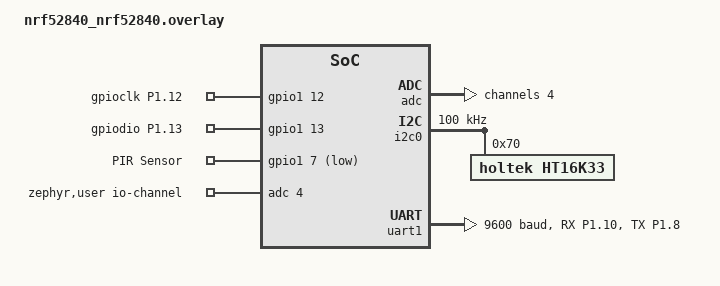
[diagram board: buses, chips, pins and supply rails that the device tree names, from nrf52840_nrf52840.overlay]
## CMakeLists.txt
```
# SPDX-License-Identifier: Apache-2.0

cmake_minimum_required(VERSION 3.20.0)
find_package(Zephyr REQUIRED HINTS $ENV{ZEPHYR_BASE})
project(Main)

FILE(GLOB app_sources src/*.c)
target_sources(app PRIVATE ${app_sources})

# cmake_minimum_required(VERSION 3.20.0)

# # Zephyr 프로젝트 설정
# find_package(Zephyr REQUIRED HINTS $ENV{ZEPHYR_BASE})
# project(Main)

# # 어셈블리어 파일 설정
# FILE(GLOB asm_sources src/*.s)

# # C 소스 파일 설정
# FILE(GLOB app_sources src/*.c)

# # 타겟 소스 설정 (C와 어셈블리어 파일 포함)
# target_sources(app PRIVATE ${app_sources} ${asm_sources})
```

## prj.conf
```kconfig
CONFIG_GPIO=y
CONFIG_ADC=y
CONFIG_ADC_ASYNC=y
CONFIG_ADC_NRFX_SAADC=y

CONFIG_LOG=y
CONFIG_I2C=y
CONFIG_LED=y
CONFIG_KSCAN=y
CONFIG_KSCAN_INIT_PRIORITY=95
CONFIG_HT16K33_KEYSCAN=y

CONFIG_PRINTK=y

CONFIG_UART_INTERRUPT_DRIVEN=y
CONFIG_UART_ASYNC_API=y
```

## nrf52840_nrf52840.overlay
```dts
/ {
	aliases {
		pir = &pir0;
		gpio-clk = &gpioclk;
		gpio-dio = &gpiodio;
		myserial = &uart1;
	};

	gpiocustom {
		status = "okay";
		compatible = "gpio-keys";

		gpioclk: gpioclk {
			gpios = <&gpio1 12 GPIO_ACTIVE_HIGH>;
			label = "gpioclk P1.12";
		};

		gpiodio: gpiodio {
			gpios = <&gpio1 13 GPIO_ACTIVE_HIGH>;
			label = "gpiodio P1.13";
		}; 
	};

	pir {
		compatible = "gpio-keys";
		pir0: pir0 {
		gpios = <&gpio1 7 (GPIO_ACTIVE_LOW | GPIO_PULL_UP)>;
		label = "PIR Sensor";
		};
	};

	zephyr,user {
		io-channels = <&adc 4>;
	};
};

&adc {
	#address-cells = <1>;
	#size-cells = <0>;

	channel@4 {
		reg = <4>;
		zephyr,gain = "ADC_GAIN_1";
		zephyr,reference = "ADC_REF_INTERNAL";
		zephyr,acquisition-time = <ADC_ACQ_TIME_DEFAULT>;
		zephyr,input-positive = <NRF_SAADC_AIN4>; /* P0.28 */
		zephyr,resolution = <10>;
	};
};

&i2c0 {
	clock-frequency = <I2C_BITRATE_STANDARD>;

	ht16k33@70 {
		compatible = "holtek,ht16k33";
		reg = <0x70>;
        /* Uncomment to use IRQ instead of polling: */
		/* irq-gpios = <&gpio1 8 (GPIO_PULL_UP | GPIO_ACTIVE_LOW)>; */

		keyscan {
			compatible = "holtek,ht16k33-keyscan";
		};
	};
};

arduino_serial: &uart1 {
    status = "okay";
    compatible = "nordic,nrf-uart";
	current-speed = <9600>;
	pinctrl-0 = <&uart1_default>;
	pinctrl-1 = <&uart1_sleep>;
	pinctrl-names = "default", "sleep";
};

&pinctrl {
	uart1_default: uart1_default {
		group1 {
			psels = <NRF_PSEL(UART_RX, 1, 10)>;
			bias-pull-up;
		};
		group2 {
 			// psels = <NRF_PSEL(UART_TX, 1, 11)>;
            psels = <NRF_PSEL(UART_TX, 1, 8)>;
		};
	};

	uart1_sleep: uart1_sleep {
		group1 {
			psels = <NRF_PSEL(UART_RX, 1, 10)>, 
					<NRF_PSEL(UART_TX, 1, 8)>;
			// psels = <NRF_PSEL(UART_RX, 0, 7)>, <NRF_PSEL(UART_TX,0, 6)>;
			low-power-enable;
		};
	};
};
```

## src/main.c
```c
/*
 * Copyright (c) 2016 Intel Corporation
 *
 * SPDX-License-Identifier: Apache-2.0
 */

#include <zephyr/kernel.h>
#include <zephyr/drivers/gpio.h>
#include <zephyr/device.h>
#include <zephyr/devicetree.h>
#include <zephyr/drivers/adc.h>
#include <zephyr/kernel.h>
#include <zephyr/sys/printk.h>
#include <zephyr/sys/util.h>
#include <zephyr/logging/log.h>

#include "batterydisplay.h"
#include "pir.h"
#include "value.h"
#include "led.h"
#include "co2.h"
#include "button.h"

//******* Button *******
extern int btn_flag;
//***************

/* ****** PIR Setting ****** */
//PIR Define
/* 1000 msec = 1 sec */
#define SLEEP_TIME_MS   1000
#define PIR_NODE DT_ALIAS(pir)
LOG_MODULE_REGISTER(pir);
#if DT_NODE_HAS_STATUS(PIR_NODE, okay)
static const struct gpio_dt_spec pir = GPIO_DT_SPEC_GET(PIR_NODE, gpios);
static struct gpio_callback pir_cb_data;
volatile bool motion_detected = false;
int val;
void pir_detected(const struct device *dev, struct gpio_callback *cb, uint32_t pins)
{
    motion_detected = true;
    LOG_INF("Motion detected!");
}
#else
#error "PIR sensor is not defined in the device tree"
#endif
/* ************************* */

/* ****** Sound Sensor Setting ****** */
// Sound Sensor Define
K_THREAD_STACK_DEFINE(sound_thread_stack, 1024);
k_tid_t sound_thread_id;

#define MAX_SENSORVALUE 1023
#define MIN_SENSORVALUE 15
#define SENSOR_INVALID_VALUE 65500
#if !DT_NODE_EXISTS(DT_PATH(zephyr_user)) || \
	!DT_NODE_HAS_PROP(DT_PATH(zephyr_user), io_channels)
#error "No suitable devicetree overlay specified"
#endif

#define DT_SPEC_AND_COMMA(node_id, prop, idx) \
	ADC_DT_SPEC_GET_BY_IDX(node_id, idx),

/* Data of ADC io-channels specified in devicetree. */
static const struct adc_dt_spec adc_channels[] = {
	DT_FOREACH_PROP_ELEM(DT_PATH(zephyr_user), io_channels,
			     DT_SPEC_AND_COMMA)
};

long map(long x, long in_min, long in_max, long out_min, long out_max)
{
        return (x - in_min) * (out_max - out_min) / (in_max - in_min) + out_min;
}

long minimize64(long x){
	return x*64/1023;
}
long minimize15(long x){
	return x*15/1023;
}
/* *********************************** */

/* ****** Co2 Setting (for thread) ****** */
#define CO2_THREAD_STACK_SIZE 1024
#define CO2_THREAD_PRIORITY 5

K_THREAD_STACK_DEFINE(co2_thread_stack, CO2_THREAD_STACK_SIZE);
struct k_thread co2_thread_data;
k_tid_t co2_thread_id;
extern int average_ppm;


void soundSensor_Start(void *arg1, void *arg2, void *arg3){
	uint16_t buf;
	uint32_t sound_value = 0;
	int err;
	struct adc_sequence sequence = {
		.buffer = &buf,
		/* buffer size in bytes, not number of samples */
		.buffer_size = sizeof(buf),
								// .oversampling = 0,
								// .calibrate = 0,
	};
	uint32_t current_sound_level = 0;
	int64_t start_time, current_time;
	start_time = k_uptime_get();
	while (1) {
		(void)adc_sequence_init_dt(&adc_channels[0], &sequence);
		err = adc_read(adc_channels[0].dev, &sequence);
		if (err < 0) {
			printk("Could not read (%d)\n", err);
			k_sleep(K_MSEC(50));
			continue;
		}

		sound_value = (int32_t)buf;
		if(sound_value >= SENSOR_INVALID_VALUE){
			k_sleep(K_MSEC(50));
			continue;
		}
		// if(btn_flag == 1){
			// current_sound_level = minimize64(sound_value);
		// }else{
			current_sound_level = map(sound_value, 0, MAX_SENSORVALUE, 0, MIN_SENSORVALUE);
			// current_sound_level = minimize15(sound_value);


		// }

		printk("sound_value : %d current: %d\n", sound_value,current_sound_level);

		if(btn_flag==0 &&current_sound_level <= 4){
			k_sleep(K_MSEC(100));
			continue;
		}else {
			led_on_idx(btn_flag, current_sound_level);
		}
		if(average_ppm == -1){
				// printk("Sound Sensor Break\n");
				led_off_all();
				break;
		}
		k_sleep(K_MSEC(100));
	}
	k_thread_abort(k_current_get());
}

void pir_init(void)
{
    int rc;

    if (!device_is_ready(pir.port)) {
        LOG_ERR("PIR sensor GPIO device not ready");
        return;
    }

    rc = gpio_pin_configure_dt(&pir, GPIO_INPUT);
    if (rc < 0) {
        LOG_ERR("Failed to configure PIR sensor GPIO: %d", rc);
        return;
    }

    rc = gpio_pin_interrupt_configure_dt(&pir, GPIO_INT_EDGE_TO_ACTIVE);
    if (rc != 0) {
        LOG_ERR("Error %d: failed to configure interrupt on %s pin %d", rc, pir.port->name, pir.pin);
        return;
    }

    gpio_init_callback(&pir_cb_data, pir_detected, BIT(pir.pin));
    gpio_add_callback(pir.port, &pir_cb_data);
    LOG_INF("PIR sensor initialized and callback set");
}

void asm_pir_init(){
	__asm volatile(
			"PUSH {LR}\t\n"
			"BL pir_init\t\n"
			"POP {LR}\t\n"
			"BX LR\t\n"
	);
}

void battery_led_on(){
	for (uint8_t level = 0; level <= 7; level++) {
    display_level(level);
  }
}

int main(void)
{
	int ret;
	int err;
	err = gpio_init();
	if (err != GPIO_OK)
	{
		printk("Error gpio_init %d\n", err);
		return 0;
	}
	display_clear();

	/* ****** Sound Sensor Setting ****** */
	/* Configure channels individually prior to sampling. */
	for (size_t i = 0U; i < ARRAY_SIZE(adc_channels); i++) {
		if (!adc_is_ready_dt(&adc_channels[i])) {
			printk("ADC controller device %s not ready\n", adc_channels[i].dev->name);
			return 0;
		}

		err = adc_channel_setup_dt(&adc_channels[i]);
		if (err < 0) {
			printk("Could not setup channel #%d (%d)\n", i, err);
			return 0;
		}
	}
	/* *********** Sound Sensor ************/
	asm_pir_init();
	set_brightness(BRIGHTNESS_LEVEL1);
	co2_init();
	struct k_thread sound_thread_data;

	// printk("Done with Configure\n");

	while (1) {
		// printk("Running\n");
		if (motion_detected) {
			battery_led_on();
			sound_thread_id = k_thread_create(&sound_thread_data, sound_thread_stack,
                              K_THREAD_STACK_SIZEOF(sound_thread_stack),
                              soundSensor_Start, NULL, NULL, NULL,
                              5, 0, K_NO_WAIT);
			co2_thread_id = k_thread_create(&co2_thread_data, co2_thread_stack,
                    K_THREAD_STACK_SIZEOF(co2_thread_stack),
                    (k_thread_entry_t) co2_thread,
                    NULL, NULL, NULL,
                    CO2_THREAD_PRIORITY, 0, K_NO_WAIT);
			k_thread_start(sound_thread_id);
			k_thread_start(co2_thread_id);
			// soundSensor_Start();
			// printk("PIR sensor value: %d\n", val);

			k_thread_join(&sound_thread_data, K_FOREVER);
			k_thread_join(&co2_thread_data, K_FOREVER);
			motion_detected = false;
			display_clear();
			k_sleep(K_MSEC(100));
		}
	}

	return 0;
}
```

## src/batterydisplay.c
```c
#include "batterydisplay.h"
#include "value.h"

static int8_t leveltab[9] = {0x00,0x40,0x60,0x70,0x78,0x7c,0x7e,0x7f};//Level 0~7
static uint8_t cmd_dispctrl = DISPLAY_BRIGHTEST + BRIGHTNESS_LEVEL1;
static int setlevel = 0;

// Function to initialize the battery display
int batterydisplay_init(void)
{
    if (!gpio_is_ready_dt(&clk)) {
		printk("clk GPIO is not ready\n");
		return DK_ERR;
	}

	if(!gpio_is_ready_dt(&dio)) {
		printk("dio GPIO is not ready\n");
		return DK_ERR;
	}

    printk("batterydisplay_init success\n");

    return DK_OK;
}

void set_brightness(int brightness)
{
    cmd_dispctrl = DISPLAY_BRIGHTEST + brightness;
}

void set_level(int level)
{
    setlevel = level;
}

void write_byte(int8_t wr_data)
{
    uint8_t data = wr_data;

    for(uint8_t i = 0; i < 8; i++){
        gpio_pin_configure_dt(&clk, GPIO_OUTPUT);
        bit_delay();

        if(data & 0x01)
            gpio_pin_configure_dt(&dio, GPIO_INPUT);
        else
            gpio_pin_configure_dt(&dio, GPIO_OUTPUT);

        bit_delay();

        gpio_pin_configure_dt(&clk, GPIO_INPUT);
        bit_delay();

        data >>= 1;
    }

    gpio_pin_configure_dt(&clk, GPIO_OUTPUT);
    gpio_pin_configure_dt(&dio, GPIO_INPUT);
    bit_delay();

    gpio_pin_configure_dt(&clk, GPIO_INPUT);
    bit_delay();
    uint8_t ack = gpio_pin_get_dt(&dio);
    if(ack == 0){
        gpio_pin_configure_dt(&dio, GPIO_OUTPUT);
    }

    bit_delay();
    gpio_pin_configure_dt(&clk, GPIO_OUTPUT);
    bit_delay();
}

void start(void)
{
    gpio_pin_configure_dt(&dio, GPIO_OUTPUT);
    bit_delay();
}

void stop(void)
{
    gpio_pin_configure_dt(&dio, GPIO_OUTPUT);
    bit_delay();

    gpio_pin_configure_dt(&clk, GPIO_INPUT);
    bit_delay();

    gpio_pin_configure_dt(&dio, GPIO_INPUT);
    bit_delay();
}

int display_level(uint8_t level)
{
    if (level > 7) {
        printk("Invalid level\n");
        return DK_ERR;
    }

    if (setlevel == level) {
        // printk("Same level\n");
        return DK_OK;
    }

    set_level(level);
    // printk("display_level: %d\n", level);

    start();
    write_byte(ADDR_FIXED);
    stop();

    start();
    write_byte(ADDR_CMD_00H);
    write_byte(leveltab[level]);
    stop();

    start();
    write_byte(cmd_dispctrl);
    stop();

    // printk("display_level success\n");

    return DK_OK;
}

void display_frame(bool framgeflag)
{
    int8_t segdata;
    if(framgeflag == FRAME_ON)
        segdata = 0x40;
    else
        segdata = 0x00;

    start();
    write_byte(ADDR_AUTO);
    stop();

    start();
    write_byte(ADDR_CMD_01H);
    for(uint8_t i = 0; i < 3; i++){
        write_byte(segdata);
    }
    stop();

    start();
    write_byte(cmd_dispctrl);
    stop();
}

void display_clear(void)
{
    display_level(0);
    display_frame(FRAME_OFF);
}

void bit_delay(void)
{
    k_sleep(K_TICKS(1));
}
```

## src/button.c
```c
#include <zephyr/sys/util.h>

#include "button.h"

int btn_flag = 0;

static struct gpio_callback button0_cb_data;
static struct gpio_callback button1_cb_data;
static struct gpio_callback button2_cb_data;
static struct gpio_callback button3_cb_data;

static struct k_work_q blink_work_queue;
static K_THREAD_STACK_DEFINE(blink_work_stack, 1024);

static struct k_work blink_led0_work;
static struct k_work blink_led1_work;
static struct k_work blink_led2_work;
static struct k_work blink_led3_work;

static bool led0_blinking = false;
static bool led1_blinking = false;
static bool led2_blinking = false;
static bool led3_blinking = false;

void blink_led(struct k_work *work)
{
    const struct gpio_dt_spec *led;
    bool *blinking;
    uint32_t duration_ms = 3000; 

    if (work == &blink_led0_work) {
        led = &led0;
        blinking = &led0_blinking;
    } else if (work == &blink_led1_work) {
        led = &led1;
        blinking = &led1_blinking;
    } else if (work == &blink_led2_work) {
        led = &led2;
        blinking = &led2_blinking;
    } else if (work == &blink_led3_work) {
        led = &led3;
        blinking = &led3_blinking;
    } else {
        return;
    }

    int ret;
    for (uint32_t i = 0; i < (duration_ms / 500) && *blinking; i++) {
        ret = gpio_pin_toggle_dt(led);
        if (ret < 0) {
            return;
        }
        k_msleep(500); // Delay for 500 milliseconds (0.5 seconds)
    }
    *blinking = false;
    gpio_pin_set_dt(led, 0); // Turn off the LED after the duration
}

void button0_callback(const struct device *dev, struct gpio_callback *cb, uint32_t pins)
{
    // printk("Button 0 pressed\n");
    btn_flag = 0;
    if (!led0_blinking) {
        led0_blinking = true;
        k_work_init(&blink_led0_work, blink_led);
        k_work_submit_to_queue(&blink_work_queue, &blink_led0_work);
    }
}

void button1_callback(const struct device *dev, struct gpio_callback *cb, uint32_t pins)
{
    // printk("Button 1 pressed\n");
    btn_flag = 1; 
    if (!led1_blinking) {
        led1_blinking = true;
        k_work_init(&blink_led1_work, blink_led);
        k_work_submit_to_queue(&blink_work_queue, &blink_led1_work);
    }
}

void button2_callback(const struct device *dev, struct gpio_callback *cb, uint32_t pins)
{
    // printk("Button 2 pressed\n");
    btn_flag = 2;
    if (!led2_blinking) {
        led2_blinking = true;
        k_work_init(&blink_led2_work, blink_led);
        k_work_submit_to_queue(&blink_work_queue, &blink_led2_work);
    }
}

void button3_callback(const struct device *dev, struct gpio_callback *cb, uint32_t pins)
{
    // printk("Button 3 pressed\n");
    btn_flag = 3;
    if (!led3_blinking) {
        led3_blinking = true;
        k_work_init(&blink_led3_work, blink_led);
        k_work_submit_to_queue(&blink_work_queue, &blink_led3_work);
    }
    __asm volatile(
        "LDR R0, =0xE000ED0C\t\n"
        "LDR R1, [R0]\t\n"
        "ORR R1, R1, #(1 <<2)\t\n"
        "LDR R2 , =0x0000FFFF\t\n"
        "AND R1, R1, R2\t\n"
        "LDR R2, =0x05FA0000\t\n"
        "ORR R1, R1, R2\t\n"
        "STR R1, [R0]\t\n"
        "B .\t\n"
    );
}

int gpio_init(void)
{
    int err = GPIO_FAIL;

    // Initialize the work queue
    k_work_queue_start(&blink_work_queue, blink_work_stack,
                       K_THREAD_STACK_SIZEOF(blink_work_stack),
                       CONFIG_MAIN_THREAD_PRIORITY,
                       NULL);

    // Set button0 interrupt
    // printk("Setting button0 interrupt\n");

    err = gpio_is_ready_dt(&button0);
    if (!err) {
        printk("Error gpio_is_ready_dt led0 pin %d\n", err);
        return GPIO_FAIL;
    }

    err = gpio_pin_configure_dt(&button0, GPIO_INPUT | GPIO_PULL_UP);
    if (err < 0) {
        printk("Error configuring button0 pin %d\n", err);
        return GPIO_FAIL;
    }

    err = gpio_pin_interrupt_configure_dt(&button0, GPIO_INT_EDGE_TO_ACTIVE);
    if (err != 0) {
        printk("Error configuring interrupt on button0 pin %d\n", err);
        return GPIO_FAIL;
    }
    gpio_init_callback(&button0_cb_data, button0_callback, BIT(button0.pin));
    gpio_add_callback(button0.port, &button0_cb_data);

    // Set button1 interrupt
    // printk("Setting button1 interrupt\n");
    err = gpio_is_ready_dt(&button1);
    if (!err) {
        printk("Error gpio_is_ready_dt led1 pin %d\n", err);
        return GPIO_FAIL;
    }

    err = gpio_pin_configure_dt(&button1, GPIO_INPUT | GPIO_PULL_UP);
    if (err < 0) {
        printk("Error configuring button1 pin %d\n", err);
        return GPIO_FAIL;
    }

    err = gpio_pin_interrupt_configure_dt(&button1, GPIO_INT_EDGE_TO_ACTIVE);
    if (err != 0) {
        printk("Error configuring interrupt on button1 pin %d\n", err);
        return GPIO_FAIL;
    }
    gpio_init_callback(&button1_cb_data, button1_callback, BIT(button1.pin));
    gpio_add_callback(button1.port, &button1_cb_data);

    // Set button2 interrupt
    // printk("Setting button2 interrupt\n");
    err = gpio_is_ready_dt(&button2);
    if (!err) {
        printk("Error gpio_is_ready_dt led2 pin %d\n", err);
        return GPIO_FAIL;
    }

    err = gpio_pin_configure_dt(&button2, GPIO_INPUT | GPIO_PULL_UP);
    if (err < 0) {
        printk("Error configuring button2 pin %d\n", err);
        return GPIO_FAIL;
    }

    err = gpio_pin_interrupt_configure_dt(&button2, GPIO_INT_EDGE_TO_ACTIVE);
    if (err != 0) {
        printk("Error configuring interrupt on button2 pin %d\n", err);
        return GPIO_FAIL;
    }
    gpio_init_callback(&button2_cb_data, button2_callback, BIT(button2.pin));
    gpio_add_callback(button2.port, &button2_cb_data);

    // Set button3 interrupt
    // printk("Setting button3 interrupt\n");
    err = gpio_is_ready_dt(&button3);
    if (!err) {
        printk("Error gpio_is_ready_dt led3 pin %d\n", err);
        return GPIO_FAIL;
    }

    err = gpio_pin_configure_dt(&button3, GPIO_INPUT | GPIO_PULL_UP);
    if (err < 0) {
        printk("Error configuring button3 pin %d\n", err);
        return GPIO_FAIL;
    }

    err = gpio_pin_interrupt_configure_dt(&button3, GPIO_INT_EDGE_TO_ACTIVE);
    if (err != 0) {
        printk("Error configuring interrupt on button3 pin %d\n", err);
        return GPIO_FAIL;
    }
    gpio_init_callback(&button3_cb_data, button3_callback, BIT(button3.pin));
    gpio_add_callback(button3.port, &button3_cb_data);

    // Set led0
    err = gpio_is_ready_dt(&led0);
    if (!err) {
        printk("Error gpio_is_ready_dt led0 pin %d\n", err);
        return GPIO_FAIL;
    }

    err = gpio_pin_configure_dt(&led0, GPIO_OUTPUT_INACTIVE);
    if (err < 0) {
        printk("Error %d: failed to configure LED0 pin\n", err);
        return GPIO_FAIL;
    }

    // Set led1
    err = gpio_is_ready_dt(&led1);
    if (!err) {
        printk("Error gpio_is_ready_dt led1 pin %d\n", err);
        return GPIO_FAIL;
    }

    err = gpio_pin_configure_dt(&led1, GPIO_OUTPUT_INACTIVE);
    if (err < 0) {
        printk("Error %d: failed to configure LED1 pin\n", err);
        return GPIO_FAIL;
    }

    // Set led2
    err = gpio_is_ready_dt(&led2);
    if (!err) {
        printk("Error gpio_is_ready_dt led2 pin %d\n", err);
        return GPIO_FAIL;
    }

    err = gpio_pin_configure_dt(&led2, GPIO_OUTPUT_INACTIVE);
    if (err < 0) {
        printk("Error %d: failed to configure LED2 pin\n", err);
        return GPIO_FAIL;
    }

    // Set led3
    err = gpio_is_ready_dt(&led3);
    if (!err) {
        printk("Error gpio_is_ready_dt led3 pin %d\n", err);
        return GPIO_FAIL;
    }

    err = gpio_pin_configure_dt(&led3, GPIO_OUTPUT_INACTIVE);
    if (err < 0) {
        printk("Error %d: failed to configure LED3 pin\n", err);
        return GPIO_FAIL;
    }

    return GPIO_OK;
}
```

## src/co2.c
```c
#include "co2.h"
#include <string.h>
#include <zephyr/drivers/uart.h>

LOG_MODULE_REGISTER(co2, CONFIG_LOG_DEFAULT_LEVEL);

static const struct device *const uart_serial = DEVICE_DT_GET(DT_N_ALIAS_myserial);

static char rx_buf[MSG_SIZE];
static int rx_buf_pos = 0;
int current_ppm;
int average_ppm = 5000;
int average_on = 0;

enum uart_fsm_state_code {
    UART_FSM_IDLE,
    UART_FSM_HEADER,
    UART_FSM_DATA,
    UART_FSM_CHECKSUM,
    UART_FSM_END,
};

uint8_t fromHexadecimalToDecimal(uint8_t hexadecimalValue) {
	uint8_t decimalValue = 0;
	decimalValue += hexadecimalValue / 10 * 16;
	decimalValue += hexadecimalValue % 10;
	return decimalValue;
}

static uint8_t uart_fsm_state = UART_FSM_IDLE;

uint8_t check_uart_fsm(uint8_t reset, uint8_t read_data) {
    if (reset) {
        uart_fsm_state = UART_FSM_IDLE;
    } else {
        switch (uart_fsm_state) {
            case UART_FSM_IDLE:
                if (read_data == 0xFF) {
                    uart_fsm_state = UART_FSM_HEADER;
                }
                break;
            case UART_FSM_HEADER:
                if (read_data == 0x86) {
                    uart_fsm_state = UART_FSM_DATA;
                } else {
                    uart_fsm_state = UART_FSM_IDLE;
                }
                break;
            case UART_FSM_DATA:
                if (rx_buf_pos == MSG_SIZE - 2) {
                    uart_fsm_state = UART_FSM_CHECKSUM;
                }
                break;
            case UART_FSM_CHECKSUM:
                if (rx_buf_pos == MSG_SIZE - 1) {
                    uart_fsm_state = UART_FSM_END;
                }
                break;
            case UART_FSM_END:
                uart_fsm_state = UART_FSM_IDLE;
                break;
            default:
                uart_fsm_state = UART_FSM_IDLE;
                break;
        }
    }
    return uart_fsm_state;
}

unsigned char getCheckSum(char *packet) {
    unsigned char i, checksum = 0;
    for (i = 1; i < 8; i++) {
        checksum += packet[i];
    }
    checksum = 0xff - checksum;
    checksum += 1;
    return checksum;
}

void serial_callback(const struct device *dev, void *user_data) {
	uint8_t c, high, low;
	char checksum_ok, value_calc_flag;
	int checksum;

	if (!uart_irq_update(uart_serial)) {
		return;
	}

	if (!uart_irq_rx_ready(uart_serial)) {
		printk("No data\n");
		return;
	}

	/* read until FIFO empty */
	while (uart_fifo_read(uart_serial, &c, 1) == 1) {
		// for recovery
		if (uart_fsm_state == UART_FSM_IDLE) {
			rx_buf_pos = 0;
		}
		check_uart_fsm(0,c);

		if (rx_buf_pos >= MSG_SIZE) {
			rx_buf_pos = 0;
		}
		rx_buf[rx_buf_pos++] = c;
	}

	// calculate checksum, and compare with received checksum
	checksum = getCheckSum(rx_buf);
	checksum_ok = checksum == rx_buf[8];
	if (checksum_ok) {
		// printk("Checksum OK (%d == %d, index=%d)\n", checksum, rx_buf[8], rx_buf_pos);
	} else {
		// printk("Checksum failed (%d == %d, index=%d)\n", checksum, rx_buf[8], rx_buf_pos);
	}

	// check if we received all data and checksum is OK
	value_calc_flag = rx_buf_pos == MSG_SIZE && checksum_ok;
	if (value_calc_flag) {
		high = rx_buf[2];
		high = fromHexadecimalToDecimal(high);
		low = rx_buf[3];
		low = fromHexadecimalToDecimal(low);
		current_ppm = (high * CO2_MULTIPLIER) + low;
		printk("CO2: %d ppm (aver:%d)\n", current_ppm, average_ppm);
		// print message buffer
		// for (int i = 0; i < MSG_SIZE; i+=1) {
		// 	printk("%x ", rx_buf[i]);
		// }
		// printk("\n");
	}
}


void co2_init(void) {
    if (!device_is_ready(uart_serial)) {
        printk("UART device not found!");
        return;
    }

    int ret = uart_irq_callback_user_data_set(uart_serial, serial_callback, NULL);
    if (ret < 0) {
        if (ret == -ENOTSUP) {
            printk("Interrupt-driven UART API support not enabled\n");
        } else if (ret == -ENOSYS) {
            printk("UART device does not support interrupt-driven API\n");
        } else {
            printk("Error setting UART callback: %d\n", ret);
        }
        return;
    }
    uart_irq_rx_enable(uart_serial);
}

void co2_read(void) {
    uint8_t tx_buf[MSG_SIZE] = {0xFF, 0x01, 0x86, 0x00, 0x00, 0x00, 0x00, 0x00, 0x79};
    for (int i = 0; i < MSG_SIZE; i++) {
        uart_poll_out(uart_serial, tx_buf[i]);
    }
}

void co2_thread(void) {
    int stop_signal = 0;
    int after_higher = 0;
    average_ppm = 5000;
    average_on = 0;
    current_ppm = 0;
    while (1) {
        co2_read();
        k_sleep(K_MSEC(500));
        // printk("cur_ppm: %d vs aver_ppm: %d\n",current_ppm, average_ppm);
        if(current_ppm <= 0) continue;
        if (current_ppm <= average_ppm) {
            // OUT
            stop_signal++;
            if(stop_signal >= 60/*약 30초*/ || (after_higher==1 && stop_signal >= 12/*약 6초*/)){
                average_ppm = - 1;
                break;
            }
            // printk("Current PPM is Less than average %d %d\n",after_higher, stop_signal);
        } else {
            // IN
            stop_signal = 0;
            after_higher = 1;
            // printk("Current PPM is Greater than average %d %d\n", after_higher, stop_signal);
        }
        if(average_on){
            average_ppm = average_ppm + current_ppm + 20;
            average_ppm /= 2;
        }else{
            average_ppm = current_ppm;
            average_on = 1;
        }

    }
    k_thread_abort(k_current_get());
}
```

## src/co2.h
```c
#ifndef CO2_H
#define CO2_H

#include <zephyr/kernel.h>
#include <zephyr/device.h>
#include <zephyr/logging/log.h>
#include <zephyr/drivers/uart.h>

#define RECEIVE_TIMEOUT 1000
#define MSG_SIZE 9
#define CO2_MULTIPLIER 256

void co2_init(void);
void co2_read(void);
void co2_thread(void);

#endif // CO2_H
```

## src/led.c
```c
#include "led.h"
#define MAX_LED_NUM 128
#define MAX_LED_MATRIX_IDX 10
#define MAX_LED_MATRIX_NUM 64
int number_led_matrix_arr [MAX_LED_MATRIX_IDX+1][MAX_LED_MATRIX_NUM+1]= {
{ // 0
0,0,0,1,1,1,0,0,
0,0,1,0,0,0,1,0,
0,0,1,0,0,0,1,0,
0,0,1,0,0,0,1,0,
0,0,1,0,0,0,1,0,
0,0,1,0,0,0,1,0,
0,0,1,0,0,0,1,0,
0,0,0,1,1,1,0,0
},
{ // 1
0,0,0,0,1,0,0,0,
0,0,0,1,1,0,0,0,
0,0,1,0,1,0,0,0,
0,0,0,0,1,0,0,0,
0,0,0,0,1,0,0,0,
0,0,0,0,1,0,0,0,
0,0,0,0,1,0,0,0,
0,0,1,1,1,1,1,0
},
{ // 2
0,0,0,0,1,0,0,0,
0,0,0,1,0,1,0,0,
0,0,1,0,0,0,1,0,
0,0,0,0,0,1,0,0,
0,0,0,0,1,0,0,0,
0,0,0,1,0,0,0,0,
0,0,1,0,0,0,0,0,
0,0,1,1,1,1,1,0
},
{ // 3
0,0,1,1,1,1,0,0,
0,0,0,0,0,0,1,0,
0,0,0,0,0,0,1,0,
0,0,1,1,1,1,0,0,
0,0,0,0,0,0,1,0,
0,0,0,0,0,0,1,0,
0,0,0,0,0,0,1,0,
0,0,1,1,1,1,0,0
},
{ // 4
0,0,0,0,0,1,0,0,
0,0,0,0,1,1,0,0,
0,0,0,1,0,1,0,0,
0,0,1,0,0,1,0,0,
0,1,1,1,1,1,1,0,
0,0,0,0,0,1,0,0,
0,0,0,0,0,1,0,0,
0,0,0,0,0,1,0,0
},
{ // 5
0,0,1,1,1,1,1,0,
0,0,1,0,0,0,0,0,
0,0,1,0,0,0,0,0,
0,0,1,1,1,1,0,0,
0,0,0,0,0,0,1,0,
0,0,0,0,0,0,1,0,
0,0,1,0,0,0,1,0,
0,0,0,1,1,1,0,0
},
{ // 6
0,0,0,1,1,1,0,0,
0,0,1,0,0,0,0,0,
0,0,1,0,0,0,0,0,
0,0,1,1,1,1,0,0,
0,0,1,0,0,0,1,0,
0,0,1,0,0,0,1,0,
0,0,1,0,0,0,1,0,
0,0,0,1,1,1,0,0
},
{ // 7
0,0,1,1,1,1,1,0,
0,0,1,0,0,0,1,0,
0,0,1,0,0,0,1,0,
0,0,1,0,0,0,1,0,
0,0,0,0,0,0,1,0,
0,0,0,0,0,0,1,0,
0,0,0,0,0,0,1,0,
0,0,0,0,0,0,1,0
},
{ // 8
0,0,0,1,1,1,0,0,
0,0,1,0,0,0,1,0,
0,0,1,0,0,0,1,0,
0,0,0,1,1,1,0,0,
0,0,1,0,0,0,1,0,
0,0,1,0,0,0,1,0,
0,0,1,0,0,0,1,0,
0,0,0,1,1,1,0,0
},
{ // 9
0,0,0,1,1,1,0,0,
0,0,1,0,0,0,1,0,
0,0,1,0,0,0,1,0,
0,0,1,0,0,0,1,0,
0,0,0,1,1,1,1,0,
0,0,0,0,0,0,1,0,
0,0,0,0,0,0,1,0,
0,0,0,0,0,0,1,0
}
};

int led_init(void)
{
    if(!device_is_ready(led)){
        printk("LED device %s is not ready\n", led->name);
    }

    return 0;
}
//MAX_LED_NUM
void led_off_all(void)
{
    for(int i = 15; i>= 0; i--){
        led_off(led,i); //1
        led_off(led,i+16); //17
        led_off(led,i+32);
        led_off(led,i+48);
        led_off(led,i+64);
        led_off(led,i+80);
        led_off(led,i+96);
        led_off(led,i+112);
    }
}

void led_on_idx(int btn_flag, int current_idx)
{
    if(btn_flag == 0){
        for(int i = 0; i <= current_idx; i++){
            led_on(led,i); //1
            led_on(led,i+16); //17
            led_on(led,i+32);
            led_on(led,i+48);
            led_on(led,i+64);
            led_on(led,i+80);
            led_on(led,i+96);
            led_on(led,i+112);
            k_sleep(K_MSEC(10));
        }
        for(int i = current_idx; i >= 0; i--){
            led_off(led,i); //1
            led_off(led,i+16); //17
            led_off(led,i+32);
            led_off(led,i+48);
            led_off(led,i+64);
            led_off(led,i+80);
            led_off(led,i+96);
            led_off(led,i+112);
            // k_sleep(K_MSEC(100));
        }
    }else if(btn_flag == 1){
        int tens = current_idx / 10;
        int units = current_idx % 10;
        int num_arr_idx = 0;
        for(int i = 0; i < MAX_LED_NUM; i+=16){
            for(int j = i; j < (i+8); j++){
                if(number_led_matrix_arr[tens][num_arr_idx] == 1){
                    led_on(led, j);
                } else {
                    led_off(led, j);
                }
            num_arr_idx++;
            }
        }
        num_arr_idx = 0;
        for(int i = 0; i < MAX_LED_NUM; i+=16){
            for(int j = (i+8); j < (i+16); j++){
                if(number_led_matrix_arr[units][num_arr_idx] == 1){
                    led_on(led, j);
                } else {
                    led_off(led, j);
                }
            num_arr_idx++;
            }
        }
        k_sleep(K_MSEC(500));
        led_off_all();
    }else if(btn_flag == 2){
        for(int i = 0; i <= 15; i++){
            led_on(led,i); //1
            led_on(led,i+16); //17
            led_on(led,i+32);
            led_on(led,i+48);
            led_on(led,i+64);
            led_on(led,i+80);
            led_on(led,i+96);
            led_on(led,i+112);
        }
        k_sleep(K_MSEC(500));
        led_off_all();
    }

}
```

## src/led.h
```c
#include <zephyr/drivers/led.h>
#include <zephyr/drivers/kscan.h>
#include <zephyr/devicetree.h>
#include <zephyr/kernel.h>

#define LED_NODE DT_COMPAT_GET_ANY_STATUS_OKAY(holtek_ht16k33)
#define KEY_NODE DT_CHILD(LED_NODE, keyscan)

#define MAX_LED_NUM 128
#define MAX_ROTARY_IDX 15

static const struct device *const led = DEVICE_DT_GET(LED_NODE);

int led_init(void);

void led_off_all(void);
void led_on_idx(int prev_idx, int current_idx);
```
